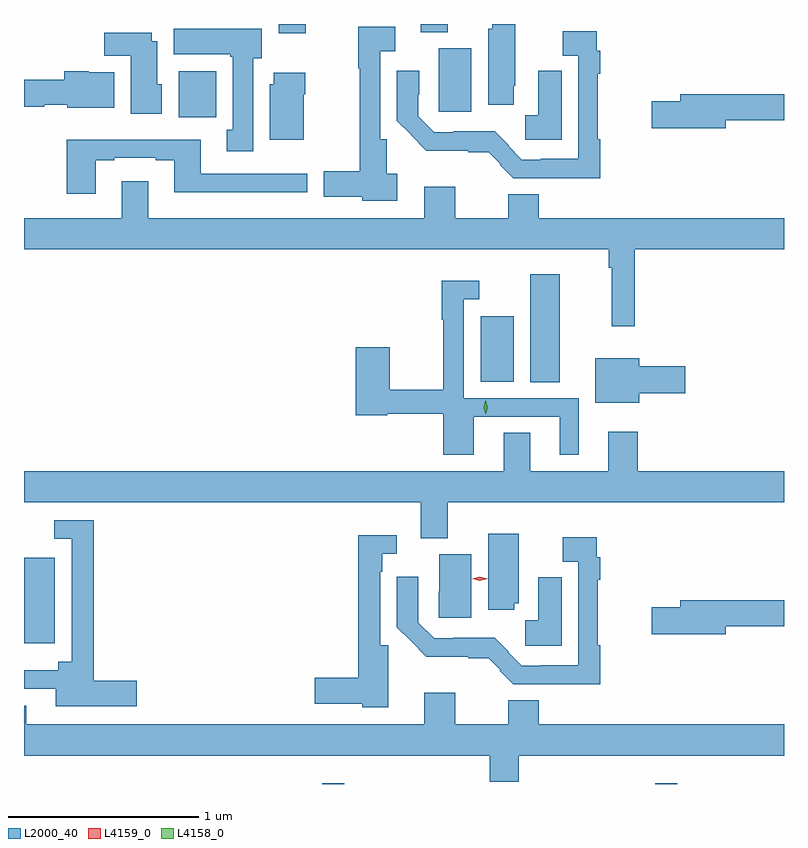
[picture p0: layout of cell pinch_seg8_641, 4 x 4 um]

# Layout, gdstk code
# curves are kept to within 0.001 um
import gdstk
lib = gdstk.Library(unit=1e-6, precision=1e-09)
def R(c, l, rs):  # rectangles x0, y0, x1, y1
    for r in rs: c.add(gdstk.rectangle(r[:2], r[2:], *l))
def P(c, l, *ps):  # polygons
    for p in ps: c.add(gdstk.Polygon(p, *l))
L2000_40 = (2000, 40)
L4158_0 = (4158, 0)
L4159_0 = (4159, 0)

pinch_seg8_641 = lib.new_cell('pinch_seg8_641')
R(pinch_seg8_641, L2000_40, [(282.148,1089.71,282.264,1089.715), (283.902,1089.71,284.018,1089.715), (280.58,1090.452,280.741,1090.9), (283.244,1091.824,283.399,1092.394), (282.983,1091.828,283.156,1092.172), (281.393,1093.22,281.59,1093.462), (282.761,1093.248,282.934,1093.582), (281.921,1093.662,282.061,1093.71), (282.668,1093.667,282.808,1093.71)])
P(pinch_seg8_641, L2000_40, [(283.156,1093.386),(283.165,1093.386),(283.165,1093.71),(283.043,1093.71),(283.043,1093.686),(283.022,1093.686),(283.022,1093.284),(283.156,1093.284)],
  [(282.544,1092.922),(282.489,1092.922),(282.489,1093.104),(282.453,1093.104),(282.453,1093.567),(282.532,1093.567),(282.532,1093.696),(282.338,1093.696),(282.338,1093.478),(282.345,1093.478),(282.345,1092.935),(282.156,1092.935),(282.156,1092.8),(282.36,1092.8),(282.36,1092.779),(282.544,1092.779)],
  [(281.785,1093.53),(281.83,1093.53),(281.83,1093.684),(281.366,1093.684),(281.366,1093.55),(281.665,1093.55),(281.665,1093.537),(281.678,1093.537),(281.678,1093.154),(281.645,1093.154),(281.645,1093.041),(281.785,1093.041)],
  [(283.613,1093.103),(283.598,1093.103),(283.598,1093.448),(283.613,1093.448),(283.613,1093.568),(283.593,1093.568),(283.593,1093.672),(283.414,1093.672),(283.414,1093.544),(283.497,1093.544),(283.497,1093),(283.3,1093),(283.3,1092.996),(283.2,1092.996),(283.128,1093.068),(283.131,1093.071),(283.057,1093.145),(282.838,1093.145),(282.838,1093.14),(282.738,1093.14),(282.654,1093.224),(282.654,1093.337),(282.658,1093.337),(282.658,1093.465),(282.542,1093.465),(282.542,1093.2),(282.697,1093.043),(282.917,1093.043),(282.917,1093.035),(283.025,1093.035),(283.087,1092.973),(283.083,1092.969),(283.153,1092.899),(283.613,1092.899)],
  [(281.305,1093.392),(281.281,1093.392),(281.281,1093.618),(281.251,1093.618),(281.251,1093.663),(281.002,1093.663),(281.002,1093.544),(281.141,1093.544),(281.141,1093.238),(281.305,1093.238)],
  [(283.408,1093.463),(283.286,1093.463),(283.286,1093.231),(283.218,1093.231),(283.218,1093.102),(283.408,1093.102)],
  [(281.053,1093.456),(280.92,1093.456),(280.92,1093.462),(280.79,1093.462),(280.79,1093.416),(280.579,1093.416),(280.579,1093.274),(280.686,1093.274),(280.686,1093.286),(280.806,1093.286),(280.806,1093.268),(281.053,1093.268)],
  [(282.052,1093.34),(282.06,1093.34),(282.06,1093.453),(281.894,1093.453),(281.894,1093.392),(281.873,1093.392),(281.873,1093.1),(282.052,1093.1)],
  [(284.272,1093.204),(284.579,1093.204),(284.579,1093.34),(284.033,1093.34),(284.033,1093.304),(283.884,1093.304),(283.884,1093.162),(284.272,1093.162)],
  [(280.957,1092.993),(281.053,1092.993),(281.053,1093.005),(281.273,1093.005),(281.273,1092.993),(281.369,1092.993),(281.369,1092.824),(282.07,1092.824),(282.07,1092.921),(281.509,1092.921),(281.509,1093.102),(280.805,1093.102),(280.805,1092.816),(280.957,1092.816)],
  [(283.793,1092.524),(284.579,1092.524),(284.579,1092.688),(283.288,1092.688),(283.288,1092.814),(283.127,1092.814),(283.127,1092.688),(282.85,1092.688),(282.85,1092.853),(282.686,1092.853),(282.686,1092.688),(281.233,1092.688),(281.233,1092.883),(281.093,1092.883),(281.093,1092.688),(280.579,1092.688),(280.579,1092.524),(283.657,1092.524),(283.657,1092.428),(283.672,1092.428),(283.672,1092.12),(283.793,1092.12)],
  [(282.946,1091.643),(283.4,1091.643),(283.4,1091.442),(283.498,1091.442),(283.498,1091.739),(282.894,1091.739),(282.894,1092.261),(282.976,1092.261),(282.976,1092.358),(282.778,1092.358),(282.778,1092.154),(282.786,1092.154),(282.786,1091.786),(282.504,1091.786),(282.504,1092.01),(282.326,1092.01),(282.326,1091.65),(282.492,1091.65),(282.492,1091.658),(282.785,1091.658),(282.785,1091.442),(282.946,1091.442)],
  [(283.816,1091.767),(284.059,1091.767),(284.059,1091.909),(283.816,1091.909),(283.816,1091.95),(283.586,1091.95),(283.586,1091.717),(283.816,1091.717)],
  [(282.808,1091.192),(284.579,1091.192),(284.579,1091.356),(283.808,1091.356),(283.808,1091.563),(283.655,1091.563),(283.655,1091.356),(283.243,1091.356),(283.243,1091.558),(283.103,1091.558),(283.103,1091.356),(280.579,1091.356),(280.579,1091.192),(282.668,1091.192),(282.668,1091.003),(282.808,1091.003)],
  [(281.173,1090.253),(280.946,1090.253),(280.946,1091.097),(280.737,1091.097),(280.737,1091.001),(280.83,1091.001),(280.83,1090.354),(280.76,1090.354),(280.76,1090.308),(280.579,1090.308),(280.579,1090.212),(280.745,1090.212),(280.745,1090.118),(281.173,1090.118)],
  [(283.159,1090.662),(283.183,1090.662),(283.183,1091.026),(283.022,1091.026),(283.022,1090.628),(283.159,1090.628)],
  [(282.496,1090.44),(282.453,1090.44),(282.453,1090.826),(282.465,1090.826),(282.465,1090.923),(282.541,1090.923),(282.541,1091.02),(282.337,1091.02),(282.337,1090.268),(282.108,1090.268),(282.108,1090.133),(282.36,1090.133),(282.36,1090.115),(282.496,1090.115)],
  [(283.613,1090.439),(283.598,1090.439),(283.598,1090.784),(283.613,1090.784),(283.613,1090.904),(283.593,1090.904),(283.593,1091.008),(283.414,1091.008),(283.414,1090.88),(283.497,1090.88),(283.497,1090.336),(283.3,1090.336),(283.3,1090.332),(283.2,1090.332),(283.128,1090.404),(283.131,1090.407),(283.057,1090.481),(282.838,1090.481),(282.838,1090.476),(282.738,1090.476),(282.654,1090.56),(282.654,1090.801),(282.542,1090.801),(282.542,1090.536),(282.697,1090.379),(282.917,1090.379),(282.917,1090.371),(283.025,1090.371),(283.087,1090.309),(283.083,1090.305),(283.153,1090.235),(283.613,1090.235)],
  [(282.934,1090.918),(282.764,1090.918),(282.764,1090.722),(282.762,1090.722),(282.762,1090.584),(282.934,1090.584)],
  [(283.408,1090.799),(283.286,1090.799),(283.286,1090.571),(283.218,1090.571),(283.218,1090.438),(283.408,1090.438)],
  [(284.272,1090.54),(284.579,1090.54),(284.579,1090.676),(284.033,1090.676),(284.033,1090.64),(283.884,1090.64),(283.884,1090.498),(284.272,1090.498)],
  [(283.184,1089.86),(284.579,1089.86),(284.579,1090.024),(283.288,1090.024),(283.288,1090.15),(283.127,1090.15),(283.127,1090.024),(282.85,1090.024),(282.85,1090.189),(282.686,1090.189),(282.686,1090.024),(280.591,1090.024),(280.591,1090.123),(280.579,1090.123),(280.579,1089.86),(283.031,1089.86),(283.031,1089.721),(283.184,1089.721)])
P(pinch_seg8_641, L4158_0, [(283.01,1091.655),(283.01,1091.655),(282.999,1091.69),(283.007,1091.727),(283.007,1091.727),(283.008,1091.727),(283.019,1091.691),(283.01,1091.655)])
P(pinch_seg8_641, L4159_0, [(282.978,1090.78),(282.937,1090.789),(282.937,1090.789),(282.937,1090.79),(282.978,1090.8),(283.019,1090.791),(283.019,1090.79),(283.019,1090.79)])

lib.write_gds('pinch_seg8_641.gds')
